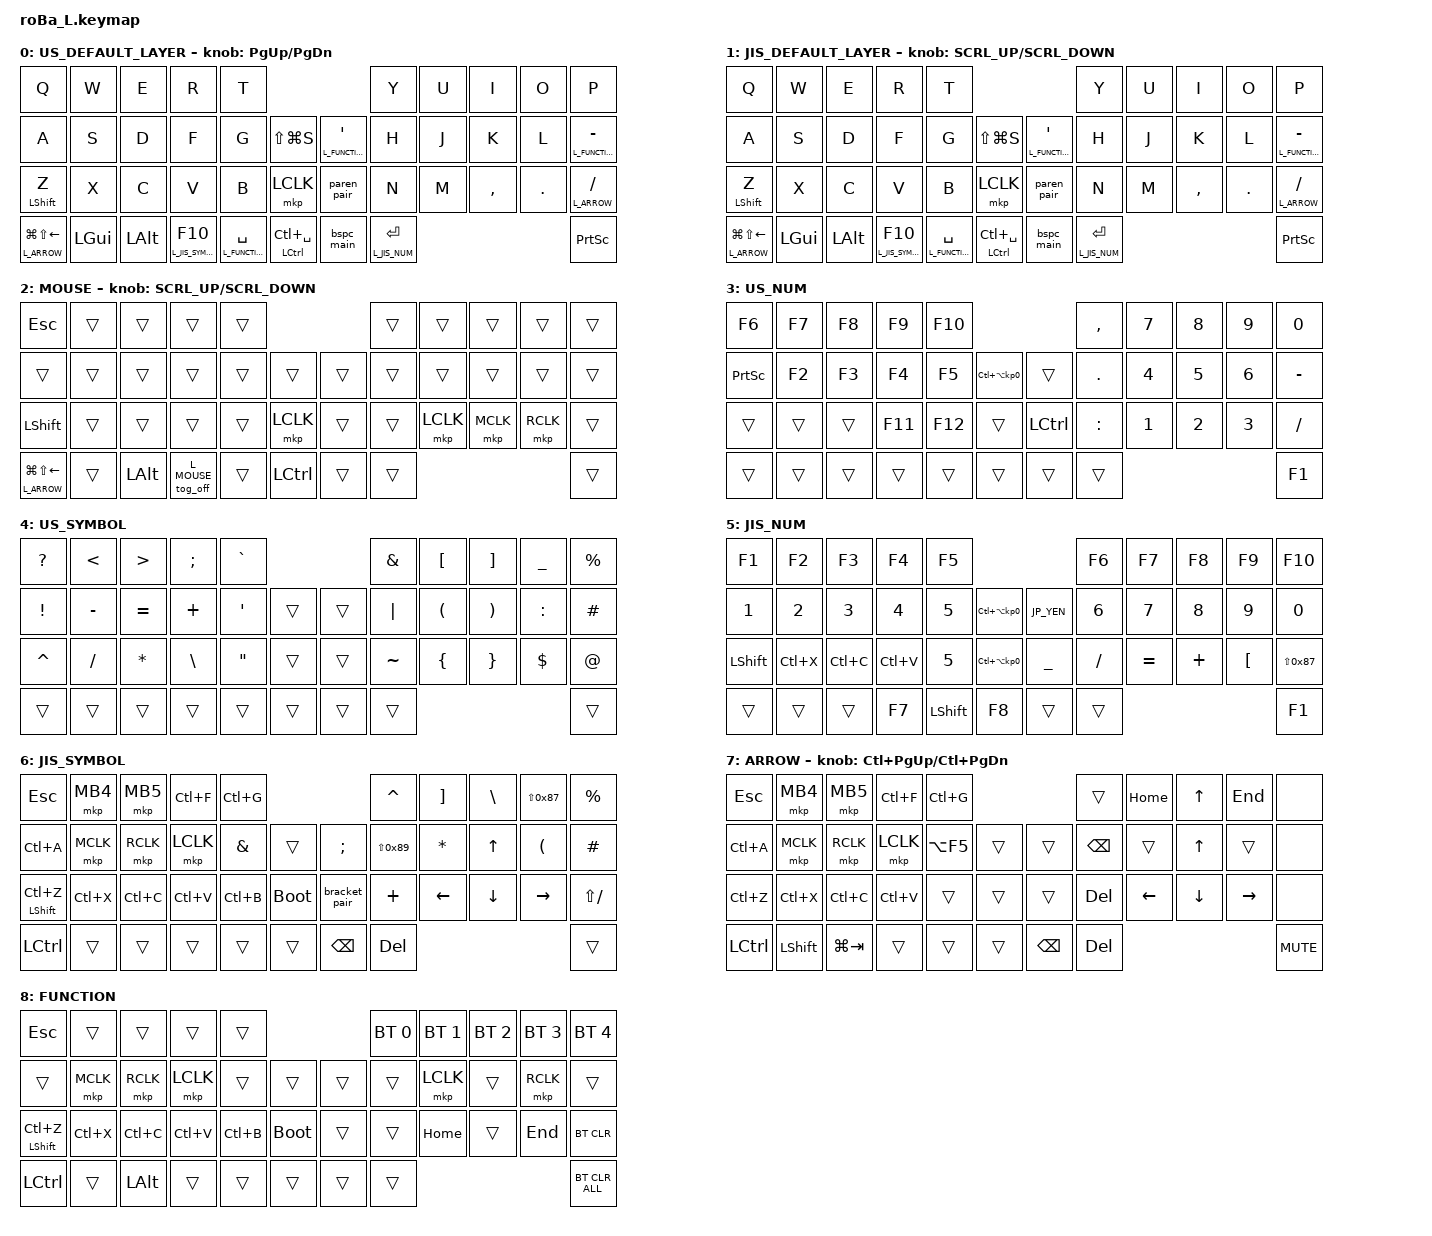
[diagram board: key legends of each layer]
#include <behaviors.dtsi>
#include <input/processors.dtsi>
#include <dt-bindings/zmk/bt.h>
#include <dt-bindings/zmk/keys.h>
#include <dt-bindings/zmk/pointing.h>

// スクロール量の定義（二重定義エラー防止）
#ifndef ZMK_POINTING_DEFAULT_SCRL_VAL
#define ZMK_POINTING_DEFAULT_SCRL_VAL 80
#endif

// --- レイヤー番号の定義 ---
#define L_US_DEFAULT 0
#define L_JIS_DEFAULT 1
#define L_MOUSE 2
#define L_US_NUM 3
#define L_US_SYMBOL 4
#define L_JIS_NUM 5
#define L_JIS_SYMBOL 6
#define L_ARROW 7
#define L_FUNCTION 8

// --- 日本語キーボード用の定義 ---
#define JP_DQUOTE        AT
#define JP_AMPERSAND    CARET
#define JP_QUOTE        AMPERSAND
#define JP_EQUAL        UNDER
#define JP_CARET        EQUAL
#define JP_YEN          0x89
#define JP_PLUS         COLON
#define JP_TILDE        PLUS
#define JP_PIPE         LS(0x89)
#define JP_AT           LEFT_BRACKET
#define JP_COLON        SINGLE_QUOTE
#define JP_ASTERISK     DOUBLE_QUOTES
#define JP_UNDERSCORE   LS(0x87)
#define JP_GRAVE        LS(LEFT_BRACE)
#define JP_LBRACKET     RIGHT_BRACKET
#define JP_RBRACKET     BACKSLASH
#define JP_LPAREN       ASTERISK
#define JP_RPAREN       LEFT_PARENTHESIS
#define JP_LBRACE       RIGHT_BRACE
#define JP_RBRACE       PIPE

&mt {
    flavor = "balanced";
    tapping-term-ms = <165>;
    quick-tap-ms = <0>;
};

&lt {
    flavor = "balanced";
    tapping-term-ms = <200>;
    quick-tap-ms = <0>;
};

&mkp_input_listener {
    input-processors = <&zip_temp_layer L_MOUSE 10000>;
};

/ {
    combos {
        compatible = "zmk,combos";
        tab { bindings = <&kp TAB>; key-positions = <11 12>; };
        shift_tab { bindings = <&kp LS(TAB)>; key-positions = <12 13>; };
        esc { bindings = <&kp ESC>; key-positions = <0 1>; };
        double_quotation { bindings = <&kp DOUBLE_QUOTES>; key-positions = <20 21>; };
        eq { bindings = <&kp EQUAL>; key-positions = <24 25>; };
        alt_tab { bindings = <&app_switch>; key-positions = <11 36>; };
        win_tab { bindings = <&task_switch>; key-positions = <10 36>; };
    };

    macros {
        to_layer_0: to_layer_0 {
            compatible = "zmk,behavior-macro-one-param";
            #binding-cells = <1>;
            bindings = <&to 0 &macro_param_1to1 &kp MACRO_PLACEHOLDER>;
        };

        lt_aml_off_and_mo: lt_aml_off_and_mo {
            compatible = "zmk,behavior-macro-one-param";
            #binding-cells = <1>;
            bindings = <&macro_tap &tog_off L_MOUSE &macro_param_1to1 &macro_press &mo MACRO_PLACEHOLDER &macro_pause_for_release &macro_param_1to1 &macro_release &mo MACRO_PLACEHOLDER>;
        };

        app_switch: app_switch {
            compatible = "zmk,behavior-macro";
            #binding-cells = <0>;
            wait-ms = <40>; tap-ms = <100>;
            bindings = <&macro_press &kp LALT>, <&macro_tap &kp TAB>, <&macro_tap &sk LALT>, <&macro_release &kp LALT>;
        };

        task_switch: task_switch {
            compatible = "zmk,behavior-macro";
            #binding-cells = <0>;
            wait-ms = <40>; tap-ms = <100>;
            bindings = <&macro_press &kp LGUI>, <&macro_tap &kp TAB>, <&macro_tap &sk LGUI>, <&macro_release &kp LGUI>;
        };

        paren_pair: paren_pair {
            compatible = "zmk,behavior-macro";
            #binding-cells = <0>;
            bindings = <&macro_tap &kp LS(NUMBER_8) &kp LS(NUMBER_9) &kp LEFT>;
        };
        
        bracket_pair: bracket_pair {
            compatible = "zmk,behavior-macro";
            #binding-cells = <0>;
            bindings = <&macro_tap &kp JP_LBRACKET &kp JP_RBRACKET &kp LEFT>;
        };
    };

    behaviors {
        lt_to_layer_0: lt_to_layer_0 {
            compatible = "zmk,behavior-hold-tap";
            #binding-cells = <2>;
            flavor = "balanced";
            tapping-term-ms = <165>;
            bindings = <&mo>, <&to_layer_0>;
        };

        lt_aml_off: lt_aml_off {
            compatible = "zmk,behavior-hold-tap";
            #binding-cells = <2>;
            flavor = "balanced";
            tapping-term-ms = <165>;
            bindings = <&lt_aml_off_and_mo>, <&kp>;
        };

        // バックスペースのTap-Dance（最新仕様）
        bspc_main: bspc_main {
            compatible = "zmk,behavior-tap-dance";
            #binding-cells = <0>;
            tapping-term-ms = <170>;
            bindings = <&bspc_single LSHFT BSPC>, <&bspc_repeat_hold 0 BSPC>;
        };

        bspc_single: bspc_single {
            compatible = "zmk,behavior-hold-tap";
            #binding-cells = <2>;
            flavor = "tap-preferred";
            tapping-term-ms = <200>;
            quick-tap-ms = <125>;
            bindings = <&kp>, <&kp>;
        };

        bspc_repeat_hold: bspc_repeat_hold {
            compatible = "zmk,behavior-hold-tap";
            #binding-cells = <2>;
            flavor = "tap-preferred";
            tapping-term-ms = <30>;
            bindings = <&bspc_macro>, <&kp>;
        };

        bspc_macro: bspc_macro {
            compatible = "zmk,behavior-macro";
            #binding-cells = <0>;
            bindings = <&macro_press &kp BSPC>, <&macro_pause_for_release>, <&macro_release &kp BSPC>;
        };
    };

    keymap {
        compatible = "zmk,keymap";

        US_DEFAULT_LAYER {
            bindings = <
&kp Q                               &kp W            &kp E               &kp R                      &kp T                                                                                            &kp Y                   &kp U                   &kp I                &kp O            &kp P
&kp A                               &kp S            &kp D               &kp F                      &kp G                            &kp LS(LG(S))                &lt L_FUNCTION JP_COLON                   &kp H                   &kp J                   &kp K                &kp L            &lt L_FUNCTION MINUS
&mt LEFT_SHIFT Z                    &kp X            &kp C               &kp V                      &kp B                            &mkp LCLK                    &paren_pair         &kp N                   &kp M                   &kp COMMA             &kp DOT          &lt L_ARROW SLASH
&lt L_ARROW LG(LS(LEFT_ARROW))      &kp LEFT_GUI     &kp LEFT_ALT        &lt L_JIS_SYMBOL F10        &lt L_FUNCTION SPACE           &mt LEFT_CONTROL LC(SPACE)  &bspc_main   &lt L_JIS_NUM ENTER                                                                                                       &kp PRINTSCREEN
            >;
            sensor-bindings = <&inc_dec_kp PG_UP PG_DN>;
        };

        JIS_DEFAULT_LAYER {
            bindings = <
&kp Q                               &kp W            &kp E               &kp R                      &kp T                                                                                            &kp Y                   &kp U                   &kp I                &kp O            &kp P
&kp A                               &kp S            &kp D               &kp F                      &kp G                            &kp LS(LG(S))                &lt L_FUNCTION JP_COLON                   &kp H                   &kp J                   &kp K                &kp L            &lt L_FUNCTION MINUS
&mt LEFT_SHIFT Z                    &kp X            &kp C               &kp V                      &kp B                            &mkp LCLK                    &paren_pair         &kp N                   &kp M                   &kp COMMA             &kp DOT          &lt L_ARROW SLASH
&lt L_ARROW LG(LS(LEFT_ARROW))        &kp LEFT_GUI     &kp LEFT_ALT        &lt L_JIS_SYMBOL F10        &lt L_FUNCTION SPACE           &mt LEFT_CONTROL LC(SPACE)  &bspc_main   &lt L_JIS_NUM ENTER                                                                                 &kp PRINTSCREEN
            >;

            sensor-bindings = <&mouse_wheel_scrl SCRL_UP SCRL_DOWN>;
        };

        MOUSE {
            bindings = <
&kp ESC                          &trans           &trans         &trans             &trans                        &trans   &trans      &trans      &trans      &trans
&trans                           &trans           &trans         &trans             &trans   &trans      &trans   &trans   &trans      &trans      &trans      &trans
&kp LEFT_SHIFT                   &trans           &trans         &trans             &trans   &mkp LCLK   &trans   &trans   &mkp LCLK   &mkp MCLK   &mkp RCLK   &trans   
&lt L_ARROW LG(LS(LEFT_ARROW))   &trans           &kp LEFT_ALT   &tog_off L_MOUSE   &trans   &kp LEFT_CONTROL      &trans   &trans                                       &trans
            >;

            sensor-bindings = <&mouse_wheel_scrl SCRL_UP SCRL_DOWN>;
        };

        US_NUM {
            bindings = <
&kp F6            &kp F7   &kp F8   &kp F9    &kp F10                                                   &kp COMMA      &kp NUMBER_7   &kp NUMBER_8   &kp NUMBER_9   &kp NUMBER_0
&kp PRINTSCREEN   &kp F2   &kp F3   &kp F4    &kp F5    &kp LC(LA(KP_NUMBER_0))      &trans               &kp DOT        &kp NUMBER_4   &kp NUMBER_5   &kp NUMBER_6   &kp MINUS
&trans            &trans   &trans   &kp F11   &kp F12   &trans                       &kp LEFT_CONTROL   &kp COLON      &kp NUMBER_1   &kp NUMBER_2   &kp NUMBER_3   &kp SLASH
&trans            &trans   &trans   &trans    &trans    &trans                       &trans               &trans                                                      &kp F1
            >;
        };

        US_SYMBOL {
            bindings = <
&kp QUESTION     &kp LESS_THAN   &kp GREATER_THAN  &kp SEMICOLON  &kp GRAVE                               &kp AMPERSAND  &kp LEFT_BRACKET      &kp RIGHT_BRACKET      &kp UNDERSCORE  &kp PERCENT
&kp EXCLAMATION  &kp MINUS        &kp EQUAL         &kp PLUS       &kp SINGLE_QUOTE   &trans      &trans  &kp PIPE       &kp LEFT_PARENTHESIS  &kp RIGHT_PARENTHESIS  &kp COLON       &kp HASH
&kp CARET        &kp SLASH        &kp ASTERISK      &kp BACKSLASH  &kp DOUBLE_QUOTES  &trans      &trans  &kp TILDE      &kp LEFT_BRACE        &kp RIGHT_BRACE        &kp DOLLAR      &kp AT_SIGN
&trans            &trans          &trans            &trans         &trans             &trans      &trans  &trans                                                                      &trans
            >;
        };

        JIS_NUM {
            bindings = <
&kp F1                      &kp F2           &kp F3           &kp F4           &kp F5                                                      &kp F6        &kp F7             &kp F8          &kp F9           &kp F10
&kp NUMBER_1      &kp NUMBER_2     &kp NUMBER_3     &kp NUMBER_4     &kp NUMBER_5    &kp LC(LA(KP_NUMBER_0))      &kp JP_YEN  &kp NUMBER_6  &kp NUMBER_7       &kp NUMBER_8    &kp NUMBER_9     &kp NUMBER_0
&kp LEFT_SHIFT    &kp LC(X)        &kp LC(C)        &kp LC(V)        &kp NUMBER_5    &kp LC(LA(KP_NUMBER_0))      &kp UNDERSCORE  &kp SLASH  &kp JP_CARET       &kp JP_TILDE     &kp JP_AT       &kp JP_UNDERSCORE
&trans            &trans           &trans           &kp F7           &kp LEFT_SHIFT  &kp F8                       &trans             &trans                                                      &kp F1
            >;
        };

        JIS_SYMBOL {
            bindings = <
&kp ESC                &mkp MB4        &mkp MB5          &kp LC(F)      &kp LC(G)                                     &kp JP_AMPERSAND  &kp JP_LBRACKET  &kp JP_RBRACKET  &kp JP_UNDERSCORE  &kp PERCENT
&kp LC(A)              &mkp MCLK       &mkp RCLK         &mkp LCLK      &kp JP_QUOTE    &trans      &kp SEMICOLON     &kp JP_PIPE       &kp JP_LPAREN    &kp UP_ARROW     &kp JP_RPAREN       &kp HASH
&mt LEFT_SHIFT LC(Z)   &kp LC(X)       &kp LC(C)         &kp LC(V)      &kp LC(B)       &bootloader      &bracket_pair  &kp JP_TILDE      &kp LEFT_ARROW   &kp DOWN_ARROW   &kp RIGHT_ARROW    &kp LS(SLASH)
&kp LEFT_CONTROL       &trans          &trans            &trans         &trans          &trans      &kp BSPC             &kp DEL                                                                 &trans
            >;
        };

        ARROW {
            bindings = <
&kp ESC           &mkp MB4     &mkp MB5     &kp LC(F)   &kp LC(G)                               &trans         &kp HOME         &kp UP_ARROW     &kp END           &none
&kp LC(A)         &mkp MCLK    &mkp RCLK    &mkp LCLK   &kp LA(F5)  &trans      &trans        &kp BSPC  &trans           &kp UP_ARROW     &trans   &none
&kp LC(Z)         &kp LC(X)    &kp LC(C)    &kp LC(V)   &trans      &trans      &trans        &kp DEL        &kp LEFT_ARROW   &kp DOWN_ARROW   &kp RIGHT_ARROW   &none
&kp LEFT_CONTROL  &kp LEFT_SHIFT  &kp LG(TAB)  &trans   &trans      &trans      &kp BSPC  &kp DEL                                                             &kp K_MUTE
            >;

            sensor-bindings = <&inc_dec_kp LC(PAGE_UP) LC(PAGE_DOWN)>;
        };

        FUNCTION {
            bindings = <
&kp ESC               &trans        &trans        &trans        &trans                                &bt BT_SEL 0  &bt BT_SEL 1  &bt BT_SEL 2  &bt BT_SEL 3  &bt BT_SEL 4
&trans                &mkp MCLK     &mkp RCLK     &mkp LCLK     &trans      &trans       &trans       &trans        &mkp LCLK        &trans        &mkp RCLK        &trans
&mt LEFT_SHIFT LC(Z)   &kp LC(X)    &kp LC(C)     &kp LC(V)     &kp LC(B)   &bootloader  &trans       &trans        &kp HOME      &trans     &kp END        &bt BT_CLR
&kp LEFT_CONTROL      &trans        &kp LEFT_ALT  &trans        &trans      &trans       &trans       &trans                                                  &bt BT_CLR_ALL
            >;
        };
    };
};
